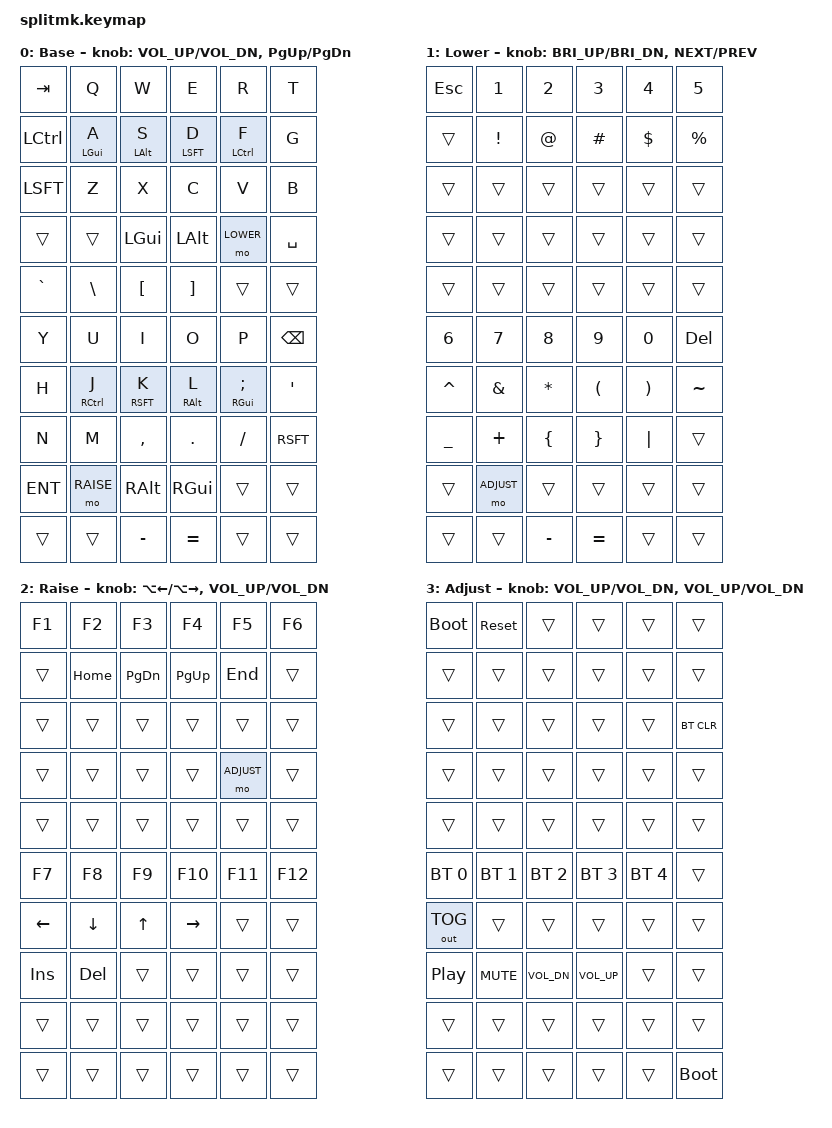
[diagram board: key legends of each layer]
/*
 * SplitMK Keymap
 *
 * 60 key positions total (30 left + 30 right)
 * Positions 28-29 (left) and 58-59 (right) are unused matrix
 * positions — bound to &trans.
 *
 * Layers:
 *   0 — Base    (QWERTY)
 *   1 — Lower   (Numbers, symbols)
 *   2 — Raise   (Navigation, F-keys)
 *   3 — Adjust  (Media, RGB, BT)
 *   (i genuenly have no idea on what to write in cooments)
 */

#include <behaviors.dtsi>
#include <dt-bindings/zmk/keys.h>
#include <dt-bindings/zmk/bt.h>
#include <dt-bindings/zmk/ext_power.h>
#include <dt-bindings/zmk/outputs.h>

/* using these just for simplicitys sake */
#define BASE   0
#define LOWER  1
#define RAISE  2
#define ADJUST 3

/ {

    /* (homerow mods) */
    behaviors {
        hm: homerow_mods {
            compatible = "zmk,behavior-hold-tap";
            label = "HOMEROW_MODS";
            #binding-cells = <2>;
            tapping-term-ms = <200>;
            quick-tap-ms = <125>;
            flavor = "tap-preferred";
            bindings = <&kp>, <&kp>;
        };
    };

    /* ── Keymap ───────────────────────────
     * god help me
     */
    keymap {
        compatible = "zmk,keymap";

        /* ── Layer 0: Base (QWERTY) ─────────────────────────── */
        base_layer {
            label = "Base";
            bindings = <
            /*  LEFT HAND — rows 0-4                                                                              */
            /*  row 0 */ &kp TAB      &kp Q        &kp W        &kp E        &kp R        &kp T
            /*  row 1 */ &kp LCTRL    &hm LGUI A   &hm LALT S   &hm LSFT D   &hm LCTRL F  &kp G
            /*  row 2 */ &kp LSFT     &kp Z        &kp X        &kp C        &kp V        &kp B
            /*  row 3 */ &trans       &trans        &kp LGUI     &kp LALT     &mo LOWER    &kp SPC
            /*  row 4 */ &kp GRAVE    &kp BSLH      &kp LBKT     &kp RBKT     &trans       &trans

            /*  RIGHT HAND — rows 0-4                                                                             */
            /*  row 0 */ &kp Y        &kp U        &kp I        &kp O        &kp P        &kp BSPC
            /*  row 1 */ &kp H        &hm RCTRL J  &hm RSFT K   &hm RALT L   &hm RGUI SEMI &kp SQT
            /*  row 2 */ &kp N        &kp M        &kp COMMA    &kp DOT      &kp FSLH     &kp RSFT
            /*  row 3 */ &kp ENT      &mo RAISE    &kp RALT     &kp RGUI     &trans       &trans
            /*  row 4 */ &trans       &trans        &kp MINUS    &kp EQUAL    &trans       &trans
            >;

            /* Encoder bindings: left=volume, right=scroll */
            sensor-bindings = <&inc_dec_kp C_VOL_UP C_VOL_DN
                               &inc_dec_kp PG_UP PG_DN>;
        };

        /* ── Layer 1: Lower (Numbers & Symbols) ────────────── */
        lower_layer {
            label = "Lower";
            bindings = <
            /*  LEFT                                                                                               */
            &kp ESC      &kp N1       &kp N2       &kp N3       &kp N4       &kp N5
            &trans       &kp EXCL     &kp AT       &kp HASH     &kp DLLR     &kp PRCNT
            &trans       &trans       &trans       &trans       &trans       &trans
            &trans       &trans       &trans       &trans       &trans       &trans
            &trans       &trans       &trans       &trans       &trans       &trans

            /*  RIGHT                                                                                              */
            &kp N6       &kp N7       &kp N8       &kp N9       &kp N0       &kp DEL
            &kp CARET    &kp AMPS     &kp STAR     &kp LPAR     &kp RPAR     &kp TILDE
            &kp UNDER    &kp PLUS     &kp LBRC     &kp RBRC     &kp PIPE     &trans
            &trans       &mo ADJUST   &trans       &trans       &trans       &trans
            &trans       &trans       &kp MINUS    &kp EQUAL    &trans       &trans
            >;

            sensor-bindings = <&inc_dec_kp C_BRI_UP C_BRI_DN
                               &inc_dec_kp C_NEXT C_PREV>;
        };

        /* ── Layer 2: Raise (Navigation & F-keys) ────────────im never doing this again cuz wth is this broooooo :cry: */
        raise_layer {
            label = "Raise";
            bindings = <
            /*  LEFT                                                                                               */
            &kp F1       &kp F2       &kp F3       &kp F4       &kp F5       &kp F6
            &trans       &kp HOME     &kp PG_DN    &kp PG_UP    &kp END      &trans
            &trans       &trans       &trans       &trans       &trans       &trans
            &trans       &trans       &trans       &trans       &mo ADJUST   &trans
            &trans       &trans       &trans       &trans       &trans       &trans

            /*  RIGHT                                                                                              */
            &kp F7       &kp F8       &kp F9       &kp F10      &kp F11      &kp F12
            &kp LEFT     &kp DOWN     &kp UP       &kp RIGHT    &trans       &trans
            &kp INS      &kp DEL      &trans       &trans       &trans       &trans
            &trans       &trans       &trans       &trans       &trans       &trans
            &trans       &trans       &trans       &trans       &trans       &trans
            >;

            sensor-bindings = <&inc_dec_kp LA(LEFT) LA(RIGHT)
                               &inc_dec_kp C_VOL_UP C_VOL_DN>;
        };

        /* ── Layer 3:(BT, Media, Power) ────────────── */
        adjust_layer {
            label = "Adjust";
            bindings = <
            /*  LEFT                                                                                               */
            &bootloader  &sys_reset   &trans       &trans       &trans       &trans
            &trans       &trans       &trans       &trans       &trans       &trans
            &trans       &trans       &trans       &trans       &trans       &bt BT_CLR
            &trans       &trans       &trans       &trans       &trans       &trans
            &trans       &trans       &trans       &trans       &trans       &trans

            /*  RIGHT                                                                                              */
            &bt BT_SEL 0 &bt BT_SEL 1 &bt BT_SEL 2 &bt BT_SEL 3 &bt BT_SEL 4 &trans
            &out OUT_TOG &trans       &trans       &trans       &trans       &trans
            &kp C_PP     &kp C_MUTE   &kp C_VOL_DN &kp C_VOL_UP &trans       &trans
            &trans       &trans       &trans       &trans       &trans       &trans
            &trans       &trans       &trans       &trans       &trans       &bootloader
            >;

            sensor-bindings = <&inc_dec_kp C_VOL_UP C_VOL_DN
                               &inc_dec_kp C_VOL_UP C_VOL_DN>;
        };
    };
};
